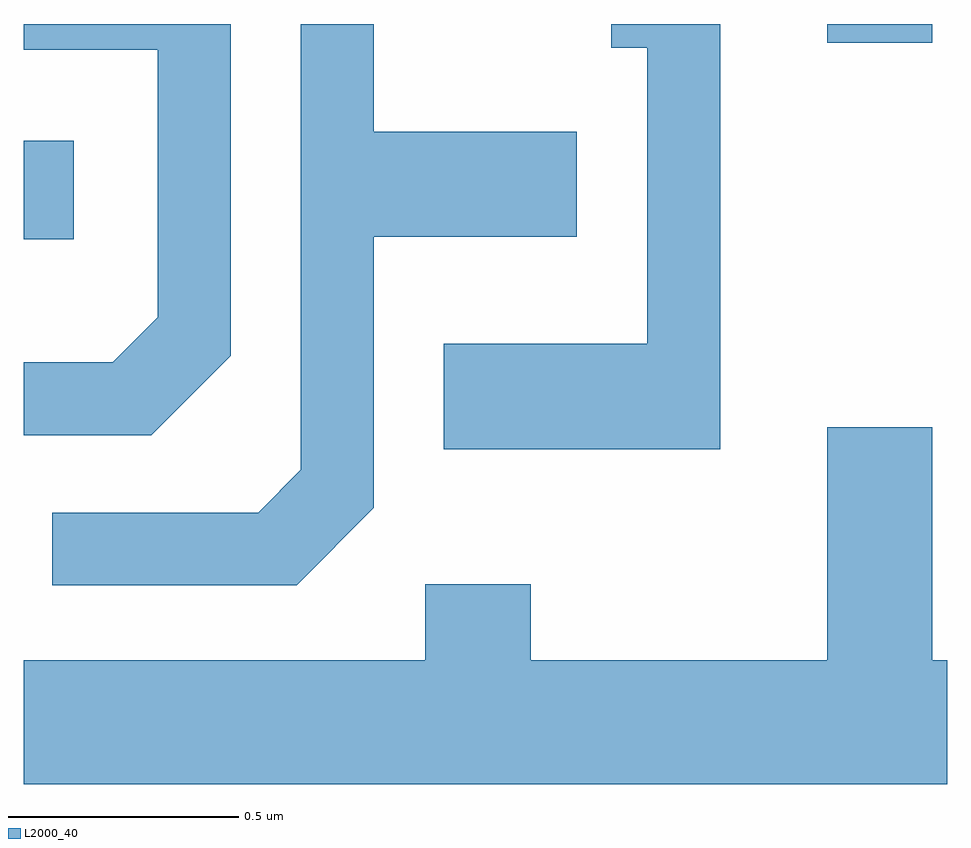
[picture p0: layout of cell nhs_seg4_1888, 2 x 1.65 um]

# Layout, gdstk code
import gdstk
lib = gdstk.Library(unit=1e-6, precision=1e-09)
def R(c, l, rs):  # rectangles x0, y0, x1, y1
    for r in rs: c.add(gdstk.rectangle(r[:2], r[2:], *l))
def P(c, l, *ps):  # polygons
    for p in ps: c.add(gdstk.Polygon(p, *l))
L2000_40 = (2000, 40)

nhs_seg4_1888 = lib.new_cell('nhs_seg4_1888')
R(nhs_seg4_1888, L2000_40, [(198.611,1362.516,198.719,1362.729), (200.351,1362.941,200.579,1362.982)])
P(nhs_seg4_1888, L2000_40, [(200.119,1362.982),(199.883,1362.982),(199.883,1362.931),(199.961,1362.931),(199.961,1362.289),(199.521,1362.289),(199.521,1362.061),(200.119,1362.061)],
  [(199.059,1362.264),(199.059,1362.982),(198.611,1362.982),(198.611,1362.926),(198.901,1362.926),(198.901,1362.347),(198.804,1362.249),(198.611,1362.249),(198.611,1362.091),(198.887,1362.091)],
  [(199.369,1361.934),(199.369,1362.521),(199.809,1362.521),(199.809,1362.749),(199.369,1362.749),(199.369,1362.982),(199.211,1362.982),(199.211,1362.017),(199.119,1361.924),(198.673,1361.924),(198.673,1361.766),(199.202,1361.766)],
  [(200.611,1361.604),(200.579,1361.604),(200.579,1362.109),(200.351,1362.109),(200.351,1361.604),(199.709,1361.604),(199.709,1361.769),(199.481,1361.769),(199.481,1361.604),(198.611,1361.604),(198.611,1361.336),(200.611,1361.336)])

lib.write_gds('nhs_seg4_1888.gds')
